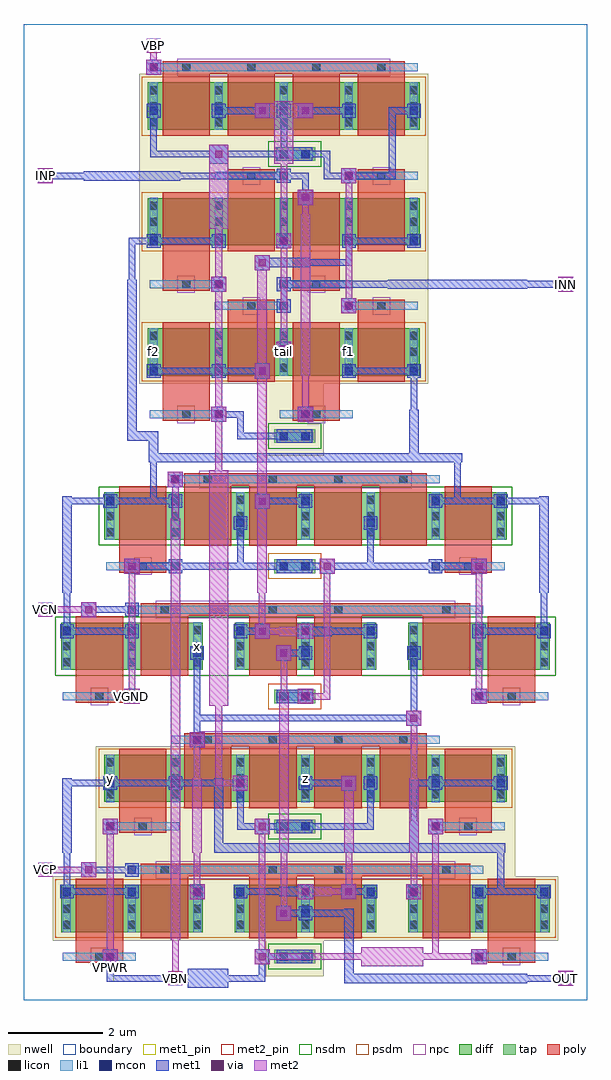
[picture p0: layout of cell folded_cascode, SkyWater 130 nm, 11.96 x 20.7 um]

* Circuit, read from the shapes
.subckt folded_cascode INN INP OUT VBN VBP VCN VCP VGND VPWR f1 f2 tail x y z
XM1 f1 VGND f1 VGND sky130_fd_pr__nfet_01v8 w=1 l=1 m=4
XM2 x VCN f1 VGND sky130_fd_pr__nfet_01v8 w=1 l=1 m=2
XM3 VGND VBN f1 VGND sky130_fd_pr__nfet_01v8 w=1 l=1 m=2
XM4 OUT VCN f2 VGND sky130_fd_pr__nfet_01v8 w=1 l=1 m=2
XM5 f2 VBN VGND VGND sky130_fd_pr__nfet_01v8 w=1 l=1 m=2
XM6 y VPWR y VPWR sky130_fd_pr__pfet_01v8 w=1 l=1 m=4
XM7 x VCP y VPWR sky130_fd_pr__pfet_01v8 w=1 l=1 m=2
XM8 f2 VPWR f2 VPWR sky130_fd_pr__pfet_01v8 w=1 l=1 m=2
XM9 f1 VPWR f1 VPWR sky130_fd_pr__pfet_01v8 w=1 l=1 m=2
XM10 tail VBP VPWR VPWR sky130_fd_pr__pfet_01v8 w=1 l=1 m=4
XM11 VPWR x y VPWR sky130_fd_pr__pfet_01v8 w=1 l=1 m=2
XM12 tail INN f2 VPWR sky130_fd_pr__pfet_01v8 w=1 l=1 m=2
XM13 tail INP f1 VPWR sky130_fd_pr__pfet_01v8 w=1 l=1 m=2
XM14 OUT VCP z VPWR sky130_fd_pr__pfet_01v8 w=1 l=1 m=2
XM15 z x VPWR VPWR sky130_fd_pr__pfet_01v8 w=1 l=1 m=2
.ends

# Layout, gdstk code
import gdstk
lib = gdstk.Library(unit=1e-6, precision=1e-09)
def R(c, l, rs):  # rectangles x0, y0, x1, y1
    for r in rs: c.add(gdstk.rectangle(r[:2], r[2:], *l))
def A(c, l, x, y, w, h, nx, ny, dx, dy):  # array of equal rectangles
    R(c, l, [(x+i*dx, y+j*dy, x+i*dx+w, y+j*dy+h) for i in range(nx) for j in range(ny)])
nwell = (64, 20)
diff = (65, 20)
tap = (65, 44)
poly = (66, 20)
licon = (66, 44)
li1 = (67, 20)
mcon = (67, 44)
met1_pin = (68, 16)
met1 = (68, 20)
via = (68, 44)
met2_pin = (69, 16)
met2 = (69, 20)
nsdm = (93, 44)
psdm = (94, 20)
npc = (95, 20)
boundary = (235, 4)

folded_cascode = lib.new_cell('folded_cascode')
R(folded_cascode, nwell, [(5.135,0.5,6.365,1.26), (0.615,1.26,11.345,2.62), (1.535,2.62,10.425,5.38), (5.135,11.54,6.365,13.065), (2.455,13.065,8.585,19.64)])
A(folded_cascode, diff, 0.795, 1.44, 3.01, 1, 3, 2, 3.68, 5.565)
R(folded_cascode, diff, [(1.715,4.2,10.245,5.2), (1.715,9.765,10.245,10.765), (2.635,13.245,8.405,14.245), (2.635,16.005,8.405,17.005), (2.635,18.46,8.405,19.46)])
A(folded_cascode, tap, 5.315, 0.775, 0.87, 0.29, 1, 5, 0, 2.76)
R(folded_cascode, tap, [(5.315,17.795,6.185,18.085)])
A(folded_cascode, poly, 3.41, 4.07, 1, 1.45, 4, 1, 1.38, 0)
A(folded_cascode, poly, 3.41, 9.635, 1, 1.405, 4, 1, 1.38, 0)
A(folded_cascode, poly, 2.95, 18.33, 1, 1.45, 4, 1, 1.38, 0)
R(folded_cascode, poly, [(1.11,0.785,2.11,1.055), (9.85,0.785,10.85,1.055), (1.11,0.92,2.11,2.57), (9.85,0.92,10.85,2.57), (2.49,1.31,3.49,2.76), (4.79,1.31,5.79,2.76), (6.17,1.31,7.17,2.76), (8.47,1.31,9.47,2.76), (2.49,2.625,9.47,2.895), (2.03,3.545,3.03,3.815), (8.93,3.545,9.93,3.815), (2.03,3.68,3.03,5.33), (8.93,3.68,9.93,5.33), (3.41,5.385,8.55,5.655), (1.11,6.305,2.11,6.575), (9.85,6.305,10.85,6.575), (1.11,6.44,2.11,8.135), (9.85,6.44,10.85,8.135), (2.49,6.875,3.49,8.28), (4.79,6.875,5.79,8.28), (6.17,6.875,7.17,8.28), (8.47,6.875,9.47,8.28), (2.49,8.145,9.47,8.415), (2.03,9.065,3.03,9.335), (8.93,9.065,9.93,9.335), (2.03,9.2,3.03,10.895), (8.93,9.2,9.93,10.895), (3.41,10.905,8.55,11.175), (2.95,12.285,3.95,12.555), (5.71,12.285,6.71,12.555), (2.95,12.42,3.95,14.375), (5.71,12.42,6.71,14.375), (4.33,13.115,5.33,14.72), (7.09,13.115,8.09,14.72), (4.33,14.585,5.33,14.855), (7.09,14.585,8.09,14.855), (2.95,15.045,3.95,15.315), (5.71,15.045,6.71,15.315), (2.95,15.18,3.95,17.135), (5.71,15.18,6.71,17.135), (4.33,15.875,5.33,17.48), (7.09,15.875,8.09,17.48), (4.33,17.345,5.33,17.615), (7.09,17.345,8.09,17.615), (2.95,19.645,8.09,19.915)])
A(folded_cascode, licon, 5.435, 0.835, 0.17, 0.17, 1, 5, 0, 2.76)
A(folded_cascode, licon, 5.895, 0.835, 0.17, 0.17, 1, 5, 0, 2.76)
A(folded_cascode, licon, 0.835, 1.515, 0.17, 0.17, 3, 3, 1.38, 0.34)
A(folded_cascode, licon, 4.515, 1.515, 0.17, 0.17, 3, 3, 1.38, 0.34)
A(folded_cascode, licon, 8.195, 1.515, 0.17, 0.17, 3, 3, 1.38, 0.34)
A(folded_cascode, licon, 1.755, 4.275, 0.17, 0.17, 7, 3, 1.38, 0.34)
A(folded_cascode, licon, 3.825, 5.435, 0.17, 0.17, 4, 2, 1.38, 5.52)
A(folded_cascode, licon, 0.835, 7.08, 0.17, 0.17, 3, 3, 1.38, 0.34)
A(folded_cascode, licon, 4.515, 7.08, 0.17, 0.17, 3, 3, 1.38, 0.34)
A(folded_cascode, licon, 8.195, 7.08, 0.17, 0.17, 3, 3, 1.38, 0.34)
A(folded_cascode, licon, 1.755, 9.84, 0.17, 0.17, 7, 3, 1.38, 0.34)
A(folded_cascode, licon, 2.675, 13.32, 0.17, 0.17, 5, 3, 1.38, 0.34)
A(folded_cascode, licon, 2.675, 16.08, 0.17, 0.17, 5, 3, 1.38, 0.34)
A(folded_cascode, licon, 2.675, 18.535, 0.17, 0.17, 5, 3, 1.38, 0.34)
A(folded_cascode, licon, 3.365, 19.695, 0.17, 0.17, 4, 1, 1.38, 0)
R(folded_cascode, licon, [(1.525,0.835,1.695,1.005), (10.265,0.835,10.435,1.005), (2.905,2.675,3.075,2.845), (5.205,2.675,5.375,2.845), (6.585,2.675,6.755,2.845), (8.885,2.675,9.055,2.845), (2.445,3.595,2.615,3.765), (9.345,3.595,9.515,3.765), (1.525,6.355,1.695,6.525), (10.265,6.355,10.435,6.525), (2.905,8.195,3.075,8.365), (5.205,8.195,5.375,8.365), (6.585,8.195,6.755,8.365), (8.885,8.195,9.055,8.365), (2.445,9.115,2.615,9.285), (9.345,9.115,9.515,9.285), (3.365,12.335,3.535,12.505), (6.125,12.335,6.295,12.505), (4.745,14.635,4.915,14.805), (7.505,14.635,7.675,14.805), (3.365,15.095,3.535,15.265), (6.125,15.095,6.295,15.265), (4.745,17.395,4.915,17.565), (7.505,17.395,7.675,17.565), (5.435,17.855,5.605,18.025), (5.895,17.855,6.065,18.025)])
A(folded_cascode, li1, 5.355, 0.835, 0.79, 0.17, 1, 5, 0, 2.76)
A(folded_cascode, li1, 0.835, 1.435, 0.17, 1.01, 3, 2, 1.38, 5.565)
A(folded_cascode, li1, 4.515, 1.435, 0.17, 1.01, 3, 2, 1.38, 5.565)
A(folded_cascode, li1, 8.195, 1.435, 0.17, 1.01, 3, 2, 1.38, 5.565)
A(folded_cascode, li1, 1.755, 4.195, 0.17, 1.01, 7, 2, 1.38, 5.565)
A(folded_cascode, li1, 2.675, 13.24, 0.17, 1.01, 5, 2, 1.38, 2.76)
A(folded_cascode, li1, 2.675, 18.455, 0.17, 1.01, 5, 1, 1.38, 0)
R(folded_cascode, li1, [(0.835,0.835,2.385,1.005), (9.575,0.835,11.125,1.005), (2.215,2.675,9.745,2.845), (1.755,3.595,3.305,3.765), (8.655,3.595,10.205,3.765), (3.135,5.435,8.825,5.605), (0.835,6.355,2.385,6.525), (9.575,6.355,11.125,6.525), (2.215,8.195,9.745,8.365), (1.755,9.115,3.305,9.285), (8.655,9.115,10.205,9.285), (3.135,10.955,8.825,11.125), (2.675,12.335,4.225,12.505), (5.435,12.335,6.985,12.505), (4.055,14.635,5.605,14.805), (6.815,14.635,8.365,14.805), (2.675,15.095,4.225,15.265), (5.435,15.095,6.985,15.265), (4.055,17.395,5.605,17.565), (6.815,17.395,8.365,17.565), (5.355,17.855,6.145,18.025), (2.675,19.695,8.365,19.865)])
A(folded_cascode, mcon, 5.435, 0.835, 0.17, 0.17, 1, 5, 0, 2.76)
A(folded_cascode, mcon, 0.835, 2.215, 0.17, 0.17, 3, 1, 1.38, 0)
A(folded_cascode, mcon, 8.195, 2.215, 0.17, 0.17, 3, 1, 1.38, 0)
A(folded_cascode, mcon, 5.895, 3.595, 0.17, 0.17, 1, 4, 0, 2.76)
A(folded_cascode, mcon, 1.755, 4.515, 0.17, 0.17, 7, 1, 1.38, 0)
A(folded_cascode, mcon, 3.595, 7.275, 0.17, 0.17, 3, 1, 2.3, 0)
A(folded_cascode, mcon, 3.135, 10.495, 0.17, 0.17, 3, 1, 2.76, 0)
A(folded_cascode, mcon, 2.675, 16.015, 0.17, 0.17, 5, 2, 1.38, 2.76)
R(folded_cascode, mcon, [(1.755,0.835,1.925,1.005), (5.895,0.835,6.065,1.005), (9.575,0.835,9.745,1.005), (5.895,1.755,6.065,1.925), (4.515,2.215,4.685,2.385), (7.275,2.215,7.445,2.385), (2.215,2.675,2.385,2.845), (1.755,3.595,1.925,3.765), (8.655,3.595,8.825,3.765), (3.595,5.435,3.765,5.605), (2.215,6.355,2.385,6.525), (9.575,6.355,9.745,6.525), (0.835,7.735,1.005,7.905), (2.215,7.735,2.385,7.905), (4.515,7.735,4.685,7.905), (7.275,7.735,7.445,7.905), (9.575,7.735,9.745,7.905), (10.955,7.735,11.125,7.905), (2.215,8.195,2.385,8.365), (3.135,9.115,3.305,9.285), (8.655,9.115,8.825,9.285), (4.515,10.035,4.685,10.205), (7.275,10.035,7.445,10.205), (1.755,10.495,1.925,10.665), (10.035,10.495,10.205,10.665), (3.135,10.955,3.305,11.125), (4.055,12.335,4.225,12.505), (5.895,12.335,6.065,12.505), (2.675,13.255,2.845,13.425), (4.055,13.255,4.225,13.425), (6.815,13.255,6.985,13.425), (8.195,13.255,8.365,13.425), (5.435,13.715,5.605,13.885), (5.435,14.635,5.605,14.805), (6.815,14.635,6.985,14.805), (4.055,15.095,4.225,15.265), (5.435,15.095,5.605,15.265), (5.435,17.395,5.605,17.565), (6.815,17.395,6.985,17.565), (5.435,17.855,5.605,18.025), (5.895,17.855,6.065,18.025), (2.675,19.695,2.845,19.865)])
R(folded_cascode, met1_pin, [(1.77,0.39,1.91,0.99), (2.155,6.295,2.445,6.585)])
A(folded_cascode, met1, 5.375, 0.775, 0.75, 0.29, 1, 5, 0, 2.76)
A(folded_cascode, met1, 0.775, 2.155, 0.29, 0.29, 3, 1, 1.38, 0)
A(folded_cascode, met1, 8.135, 2.155, 0.29, 0.29, 3, 1, 1.38, 0)
A(folded_cascode, met1, 1.695, 4.455, 0.29, 0.29, 7, 1, 1.38, 0)
A(folded_cascode, met1, 2.14, 6.28, 0.32, 0.32, 3, 1, 3.68, 0)
A(folded_cascode, met1, 3.535, 7.215, 0.29, 0.29, 3, 1, 2.3, 0)
A(folded_cascode, met1, 4.9, 7.66, 0.32, 0.32, 1, 3, 0, 2.76)
A(folded_cascode, met1, 5.82, 7.66, 0.32, 0.32, 1, 3, 0, 4.6)
A(folded_cascode, met1, 3.075, 10.435, 0.29, 0.29, 3, 1, 2.76, 0)
A(folded_cascode, met1, 2.615, 15.955, 0.29, 0.29, 5, 2, 1.38, 2.76)
R(folded_cascode, met1, [(3.48,0.26,4.34,0.66), (11.34,0.3,11.66,0.62), (6.8,0.36,7,1.94), (6.8,0.36,10.68,0.56), (1.77,0.39,1.91,0.99), (1.77,0.39,3.75,0.53), (4.07,0.39,5.13,0.53), (4.99,0.39,5.13,0.99), (10.51,0.39,11.57,0.53), (1.68,0.76,2,1.08), (4.9,0.76,5.22,1.08), (9.5,0.76,9.82,1.08), (1.695,0.775,1.985,1.065), (9.515,0.775,9.805,1.065), (4.99,0.85,5.59,0.99), (5.45,0.85,5.59,0.99), (5.36,1.68,5.68,2), (5.835,1.695,6.125,1.985), (5.45,1.77,6.05,1.91), (5.91,1.77,6.97,1.91), (3.52,2.14,3.84,2.46), (5.82,2.14,6.14,2.46), (6.74,2.14,7.06,2.46), (8.12,2.14,8.44,2.46), (4.455,2.155,4.745,2.445), (7.215,2.155,7.505,2.445), (5.42,2.2,6.08,2.4), (0.85,2.23,0.99,3.29), (0.85,2.23,2.37,2.37), (4.53,2.23,5.59,2.37), (6.83,2.23,7.43,2.37), (9.59,2.23,10.19,2.37), (10.05,2.23,11.11,2.37), (10.05,2.23,10.19,3.29), (1.22,2.6,1.54,2.92), (2.155,2.615,2.445,2.905), (1.31,2.69,2.37,2.83), (0.82,3.12,1.02,4.7), (4.04,3.12,8.38,3.32), (4.04,3.12,4.24,4.7), (8.18,3.12,10.22,3.32), (8.18,3.12,8.38,3.78), (1.68,3.52,2,3.84), (4.9,3.52,5.22,3.84), (8.58,3.52,8.9,3.84), (1.695,3.535,1.985,3.825), (8.595,3.535,8.885,3.825), (4.53,3.61,5.59,3.75), (4.53,3.61,4.67,4.67), (5.45,3.61,7.43,3.75), (5.45,3.61,5.59,3.75), (7.29,3.61,7.43,4.67), (8.21,3.61,8.35,4.67), (4.44,4.44,4.76,4.76), (6.74,4.44,7.06,4.76), (0.85,4.53,1.91,4.67), (1.77,4.53,3.29,4.67), (3.15,4.53,4.21,4.67), (5.91,4.53,6.97,4.67), (8.21,4.53,8.81,4.67), (8.67,4.53,10.19,4.67), (3.52,5.36,3.84,5.68), (3.535,5.375,3.825,5.665), (3.61,5.45,3.75,7.43), (8.12,5.82,8.44,6.14), (3.61,5.91,8.35,6.05), (8.21,5.91,8.35,7.43), (2.155,6.295,2.445,6.585), (9.515,6.295,9.805,6.585), (5.91,6.37,6.05,6.51), (5.36,7.2,5.68,7.52), (5.45,7.29,6.05,7.43), (0.775,7.675,1.065,7.965), (2.155,7.675,2.445,7.965), (4.455,7.675,4.745,7.965), (7.215,7.675,7.505,7.965), (9.515,7.675,9.805,7.965), (10.895,7.675,11.185,7.965), (5.88,7.72,6.54,7.92), (0.85,7.75,0.99,8.81), (0.85,7.75,2.37,7.89), (4.53,7.75,5.13,7.89), (6.37,7.75,7.43,7.89), (9.59,7.75,11.11,7.89), (10.97,7.75,11.11,8.81), (1.22,8.12,1.54,8.44), (2.155,8.135,2.445,8.425), (1.31,8.21,2.37,8.35), (0.82,8.64,1.02,10.68), (10.94,8.64,11.14,10.68), (2.14,9.04,2.46,9.36), (6.28,9.04,6.6,9.36), (9.5,9.04,9.82,9.36), (3.075,9.055,3.365,9.345), (8.595,9.055,8.885,9.345), (2.23,9.13,3.29,9.27), (3.15,9.13,4.67,9.27), (4.53,9.13,5.59,9.27), (4.53,9.13,4.67,10.19), (5.45,9.13,7.43,9.27), (5.45,9.13,5.59,9.27), (7.29,9.13,7.43,10.19), (7.29,9.13,8.81,9.27), (8.67,9.13,9.73,9.27), (4.455,9.975,4.745,10.265), (7.215,9.975,7.505,10.265), (1.695,10.435,1.985,10.725), (9.975,10.435,10.265,10.725), (0.85,10.51,1.91,10.65), (1.77,10.51,2.83,10.65), (2.69,10.51,3.29,10.65), (2.69,10.51,2.83,11.57), (4.99,10.51,6.05,10.65), (8.67,10.51,9.27,10.65), (9.13,10.51,10.19,10.65), (9.13,10.51,9.27,11.57), (10.05,10.51,11.11,10.65), (3.06,10.88,3.38,11.2), (3.075,10.895,3.365,11.185), (2.66,11.4,8.38,11.6), (2.66,11.4,2.86,12.06), (8.18,11.4,9.3,11.6), (8.18,11.4,8.38,12.52), (2.2,11.86,2.86,12.06), (2.2,11.86,2.4,15.28), (4.53,11.89,5.59,12.03), (4.53,11.89,4.67,12.49), (5.45,11.89,5.59,12.03), (3.98,12.26,4.3,12.58), (3.995,12.275,4.285,12.565), (5.835,12.275,6.125,12.565), (4.07,12.35,4.67,12.49), (8.21,12.35,8.35,13.41), (2.615,13.195,2.905,13.485), (3.995,13.195,4.285,13.485), (6.755,13.195,7.045,13.485), (8.135,13.195,8.425,13.485), (2.69,13.27,4.21,13.41), (4.07,13.27,5.13,13.41), (6.83,13.27,8.35,13.41), (5.36,13.64,5.68,13.96), (5.375,13.655,5.665,13.945), (6.74,14.56,7.06,14.88), (5.375,14.575,5.665,14.865), (6.755,14.575,7.045,14.865), (5.45,14.65,5.59,15.25), (3.98,15.02,4.3,15.34), (11.34,15.02,11.66,15.34), (3.995,15.035,4.285,15.325), (5.375,15.035,5.665,15.325), (7.72,15.08,10.68,15.28), (2.23,15.11,2.37,16.17), (5.45,15.11,7.89,15.25), (10.51,15.11,11.57,15.25), (4.9,15.48,5.22,15.8), (4.96,15.54,6.08,15.74), (5.91,15.57,6.97,15.71), (6.83,15.57,6.97,16.17), (5.36,15.94,5.68,16.26), (2.23,16.03,2.83,16.17), (2.69,16.03,4.21,16.17), (6.83,16.03,8.35,16.17), (5.91,16.95,6.05,17.55), (0.3,17.32,0.62,17.64), (6.74,17.32,7.06,17.64), (5.375,17.335,5.665,17.625), (6.755,17.335,7.045,17.625), (1.28,17.38,3.32,17.58), (0.39,17.41,1.45,17.55), (3.15,17.41,5.59,17.55), (5.45,17.41,6.05,17.55), (6.37,17.41,6.97,17.55), (6.37,17.41,6.51,18.01), (6.83,17.41,7.89,17.55), (7.75,17.41,7.89,18.93), (3.94,17.74,4.34,18.14), (5.375,17.795,6.125,18.085), (2.69,17.87,2.83,18.93), (2.69,17.87,4.21,18.01), (4.07,17.87,5.59,18.01), (5.45,17.87,6.51,18.01), (5.45,17.87,5.59,18.93), (5.45,17.87,5.59,18.01), (4.9,18.7,5.22,19.02), (5.82,18.7,6.14,19.02), (4.07,18.79,5.13,18.93), (5.91,18.79,6.97,18.93), (7.75,18.79,8.35,18.93), (2.6,19.62,2.92,19.94), (2.615,19.635,2.905,19.925)])
A(folded_cascode, via, 2.225, 6.365, 0.15, 0.15, 3, 1, 3.68, 0)
A(folded_cascode, via, 4.985, 7.745, 0.15, 0.15, 1, 3, 0, 2.76)
A(folded_cascode, via, 5.905, 7.745, 0.15, 0.15, 1, 3, 0, 4.6)
A(folded_cascode, via, 4.065, 12.345, 0.15, 0.15, 1, 3, 0, 2.76)
R(folded_cascode, via, [(11.425,0.385,11.575,0.535), (1.765,0.845,1.915,0.995), (4.985,0.845,5.135,0.995), (9.585,0.845,9.735,0.995), (5.445,1.765,5.595,1.915), (3.605,2.225,3.755,2.375), (5.905,2.225,6.055,2.375), (6.825,2.225,6.975,2.375), (8.205,2.225,8.355,2.375), (1.305,2.685,1.455,2.835), (1.765,3.605,1.915,3.755), (4.985,3.605,5.135,3.755), (8.665,3.605,8.815,3.755), (4.525,4.525,4.675,4.675), (6.825,4.525,6.975,4.675), (3.605,5.445,3.755,5.595), (8.205,5.905,8.355,6.055), (5.445,7.285,5.595,7.435), (1.305,8.205,1.455,8.355), (2.225,9.125,2.375,9.275), (6.365,9.125,6.515,9.275), (9.585,9.125,9.735,9.275), (3.145,10.965,3.295,11.115), (5.445,13.725,5.595,13.875), (6.825,14.645,6.975,14.795), (11.425,15.105,11.575,15.255), (4.985,15.565,5.135,15.715), (5.445,16.025,5.595,16.175), (0.385,17.405,0.535,17.555), (6.825,17.405,6.975,17.555), (4.985,18.785,5.135,18.935), (5.905,18.785,6.055,18.935), (2.685,19.705,2.835,19.855)])
R(folded_cascode, met2_pin, [(3.07,0.31,3.37,0.61), (11.35,0.31,11.65,0.61), (0.31,2.61,0.61,2.91), (0.31,8.13,0.61,8.43), (11.35,15.03,11.65,15.33), (0.31,17.33,0.61,17.63), (2.61,20.09,2.91,20.39)])
A(folded_cascode, met2, 2.14, 6.28, 0.32, 0.32, 3, 1, 3.68, 0)
A(folded_cascode, met2, 4.9, 7.66, 0.32, 0.32, 1, 3, 0, 2.76)
A(folded_cascode, met2, 5.82, 7.66, 0.32, 0.32, 1, 3, 0, 4.6)
R(folded_cascode, met2, [(11.34,0.3,11.66,0.62), (3.07,0.31,3.37,0.61), (11.35,0.31,11.65,0.61), (3.15,0.39,3.29,1.45), (3.15,0.39,3.29,0.53), (11.43,0.39,11.57,0.53), (7.16,0.72,8.48,1.12), (1.68,0.76,2,1.08), (4.9,0.76,5.22,1.08), (9.5,0.76,9.82,1.08), (1.77,0.85,1.91,3.75), (4.99,0.85,7.43,0.99), (4.99,0.85,5.13,3.75), (8.21,0.85,9.73,0.99), (8.67,0.85,8.81,3.75), (3.12,1.28,3.32,10.22), (5.36,1.68,5.68,2), (5.45,1.77,5.59,3.29), (3.52,2.14,3.84,2.46), (5.82,2.14,6.14,2.46), (6.74,2.14,7.06,2.46), (8.12,2.14,8.44,2.46), (5.88,2.2,6.54,2.4), (3.61,2.23,3.75,3.29), (6.37,2.23,6.97,2.37), (6.83,2.23,6.97,3.29), (8.21,2.23,8.35,3.29), (1.22,2.6,1.54,2.92), (0.31,2.61,0.61,2.91), (0.39,2.69,0.53,2.83), (0.39,2.69,1.45,2.83), (3.58,3.12,3.78,4.7), (5.42,3.12,5.62,6.54), (6.8,3.12,7,4.7), (8.18,3.12,8.38,4.7), (1.68,3.52,2,3.84), (4.9,3.52,5.22,3.84), (8.58,3.52,8.9,3.84), (4.44,4.44,4.76,4.76), (6.74,4.44,7.06,4.76), (3.61,4.53,3.75,5.59), (4.07,4.53,4.67,4.67), (4.07,4.53,4.21,6.51), (8.21,4.53,8.35,6.05), (3.52,5.36,3.84,5.68), (8.12,5.82,8.44,6.14), (3.94,6.24,4.34,11.24), (2.23,6.37,2.37,9.27), (5.45,6.37,5.59,7.43), (5.91,6.37,6.51,6.51), (6.37,6.37,6.51,9.27), (9.59,6.37,9.73,9.27), (5.36,7.2,5.68,7.52), (5.42,7.72,6.08,7.92), (4.99,7.75,5.59,7.89), (4.99,7.75,5.13,8.81), (1.22,8.12,1.54,8.44), (0.31,8.13,0.61,8.43), (0.39,8.21,0.53,8.35), (0.39,8.21,1.45,8.35), (4.96,8.64,5.16,10.68), (2.14,9.04,2.46,9.36), (6.28,9.04,6.6,9.36), (9.5,9.04,9.82,9.36), (3.15,10.05,3.29,11.11), (4.96,10.48,5.16,13.44), (3.06,10.88,3.38,11.2), (4.07,10.97,4.21,12.49), (3.98,12.26,4.3,12.58), (4.07,12.35,4.21,15.25), (5.91,12.35,6.05,13.41), (4.96,13.24,5.16,15.74), (5.88,13.24,6.08,16.66), (5.36,13.64,5.68,13.96), (5.45,13.73,5.59,16.17), (6.74,14.56,7.06,14.88), (6.83,14.65,6.97,17.55), (3.98,15.02,4.3,15.34), (11.34,15.02,11.66,15.34), (11.35,15.03,11.65,15.33), (4.07,15.11,4.21,16.63), (11.43,15.11,11.57,15.25), (4.9,15.48,5.22,15.8), (5.36,15.94,5.68,16.26), (5.45,16.03,5.59,18.01), (3.94,16.36,4.34,18.14), (5.91,16.49,6.05,17.09), (0.3,17.32,0.62,17.64), (6.74,17.32,7.06,17.64), (0.31,17.33,0.61,17.63), (0.39,17.41,0.53,17.55), (3.94,17.74,4.34,18.14), (5.32,17.74,5.72,19.06), (4.9,18.7,5.22,19.02), (5.22,18.7,5.32,19.02), (5.72,18.7,5.82,19.02), (5.82,18.7,6.14,19.02), (4.99,18.79,5.59,18.93), (5.45,18.79,6.05,18.93), (2.6,19.62,2.92,19.94), (2.69,19.71,2.83,20.31), (2.61,20.09,2.91,20.39), (2.69,20.17,2.83,20.31)])
R(folded_cascode, nsdm, [(5.19,0.65,6.31,1.19), (5.19,3.41,6.31,3.95), (0.67,6.88,11.29,8.13), (1.59,9.64,10.37,10.89), (5.19,11.69,6.31,12.23), (5.19,17.67,6.31,18.21)])
R(folded_cascode, psdm, [(0.67,1.315,11.29,2.565), (1.59,4.075,10.37,5.325), (5.19,6.17,6.31,6.71), (5.19,8.93,6.31,9.47), (2.51,13.12,8.53,14.37), (2.51,15.88,8.53,17.13), (2.51,18.335,8.53,19.585)])
R(folded_cascode, npc, [(1.425,0.735,1.795,1.105), (10.165,0.735,10.535,1.105), (2.805,2.575,9.155,2.945), (2.345,3.495,2.715,3.865), (9.245,3.495,9.615,3.865), (3.725,5.335,8.235,5.705), (1.425,6.255,1.795,6.625), (10.165,6.255,10.535,6.625), (2.805,8.095,9.155,8.465), (2.345,9.015,2.715,9.385), (9.245,9.015,9.615,9.385), (3.725,10.855,8.235,11.225), (3.265,12.235,3.635,12.605), (6.025,12.235,6.395,12.605), (4.645,14.535,5.015,14.905), (7.405,14.535,7.775,14.905), (3.265,14.995,3.635,15.365), (6.025,14.995,6.395,15.365), (4.645,17.295,5.015,17.665), (7.405,17.295,7.775,17.665), (3.265,19.595,7.775,19.965)])
R(folded_cascode, boundary, [(0,0,11.96,20.7)])
folded_cascode.add(gdstk.Label('f2', (2.76,13.745), layer=67, texttype=5))
folded_cascode.add(gdstk.Label('tail', (5.52,13.745), layer=67, texttype=5))
folded_cascode.add(gdstk.Label('f1', (6.9,13.745), layer=67, texttype=5))
folded_cascode.add(gdstk.Label('x', (3.68,7.505), layer=67, texttype=5))
folded_cascode.add(gdstk.Label('y', (1.84,4.7), layer=67, texttype=5))
folded_cascode.add(gdstk.Label('z', (5.98,4.7), layer=67, texttype=5))
folded_cascode.add(gdstk.Label('VPWR', (1.84,0.69), layer=68, texttype=5))
folded_cascode.add(gdstk.Label('VGND', (2.3,6.44), layer=68, texttype=5))
folded_cascode.add(gdstk.Label('INP', (0.46,17.48), layer=69, texttype=5))
folded_cascode.add(gdstk.Label('INN', (11.5,15.18), layer=69, texttype=5))
folded_cascode.add(gdstk.Label('VBP', (2.76,20.24), layer=69, texttype=5))
folded_cascode.add(gdstk.Label('VBN', (3.22,0.46), layer=69, texttype=5))
folded_cascode.add(gdstk.Label('VCN', (0.46,8.28), layer=69, texttype=5))
folded_cascode.add(gdstk.Label('VCP', (0.46,2.76), layer=69, texttype=5))
folded_cascode.add(gdstk.Label('OUT', (11.5,0.46), layer=69, texttype=5))
folded_cascode.add(gdstk.Label('VPWR', (1.84,0.69), layer=68, texttype=16))
folded_cascode.add(gdstk.Label('VGND', (2.3,6.44), layer=68, texttype=16))
folded_cascode.add(gdstk.Label('INP', (0.46,17.48), layer=69, texttype=16))
folded_cascode.add(gdstk.Label('INN', (11.5,15.18), layer=69, texttype=16))
folded_cascode.add(gdstk.Label('VBP', (2.76,20.24), layer=69, texttype=16))
folded_cascode.add(gdstk.Label('VBN', (3.22,0.46), layer=69, texttype=16))
folded_cascode.add(gdstk.Label('VCN', (0.46,8.28), layer=69, texttype=16))
folded_cascode.add(gdstk.Label('VCP', (0.46,2.76), layer=69, texttype=16))
folded_cascode.add(gdstk.Label('OUT', (11.5,0.46), layer=69, texttype=16))

lib.write_gds('folded_cascode.gds')
